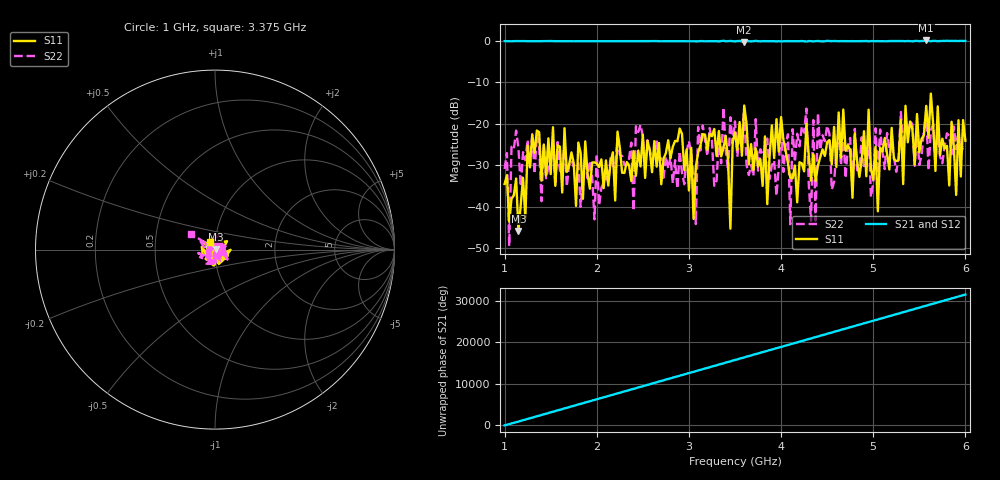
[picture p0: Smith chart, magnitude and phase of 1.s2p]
!Keysight Technologies,E5080A,MY55100170,A.11.70.00
!Date: Tuesday, August 20, 2019 22:39:36
!Correction: S11(Full 2 Port(1,2))
!S21(Full 2 Port(1,2))
!S12(Full 2 Port(1,2))
!S22(Full 2 Port(1,2))
!S2P File: Measurements: S11, S21, S12, S22:
# Hz S  dB  R 50
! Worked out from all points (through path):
!   201 points, 1 GHz to 6 GHz, reference 50 ohm
!   highest |S21| = 0.11 dB at 5.575 GHz (marker M1); lowest = -0.2 dB at 3.6 GHz (marker M2)
!   lowest |S11| = -45.8 dB at 1.15 GHz (marker M3), VSWR 1.01, Z = 50.4 + j0.306 ohm
!   |S11| at or under -10 dB: start of sweep to end of sweep
!   |S22| runs from -49.5 to -16.0 dB; largest |S21 - S12| = 0.0099
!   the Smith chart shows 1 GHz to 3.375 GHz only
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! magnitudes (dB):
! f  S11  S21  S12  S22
! 1 GHz  -34.5  0.0  0.0  -30.9
! 1.05 GHz  -43.6  -0.1  -0.1  -49.5
! 1.15 GHz  -45.8  -0.1  -0.1  -25.8
! 1.35 GHz  -21.6  -0.1  -0.1  -22.5
! 1.85 GHz  -38.0  -0.1  -0.1  -33.1
! 2.675 GHz  -24.6  -0.1  -0.1  -27.9
! 3.075 GHz  -30.3  -0.1  -0.1  -44.1
! 3.1 GHz  -26.9  -0.1  -0.1  -20.7
! 3.4 GHz  -22.9  -0.1  -0.1  -26.4
! 3.45 GHz  -45.3  0.0  0.0  -18.4
! 3.5 GHz  -22.0  -0.1  -0.1  -19.4
! 3.6 GHz  -15.6  -0.2  -0.2  -16.5
! 4.075 GHz  -29.6  -0.1  -0.1  -22.5
! 4.1 GHz  -33.0  -0.1  -0.1  -44.2
! 4.275 GHz  -20.0  -0.1  -0.1  -16.3
! 4.325 GHz  -33.7  -0.1  -0.1  -43.3
! 4.35 GHz  -27.3  -0.1  -0.1  -19.1
! 4.375 GHz  -33.8  -0.1  -0.1  -43.3
! 4.4 GHz  -30.0  0.0  -0.1  -17.4
! 5.175 GHz  -31.0  0.0  0.0  -26.0
! 5.575 GHz  -15.7  0.1  0.1  -17.5
! 6 GHz  -24.1  0.0  0.0  -26.0
